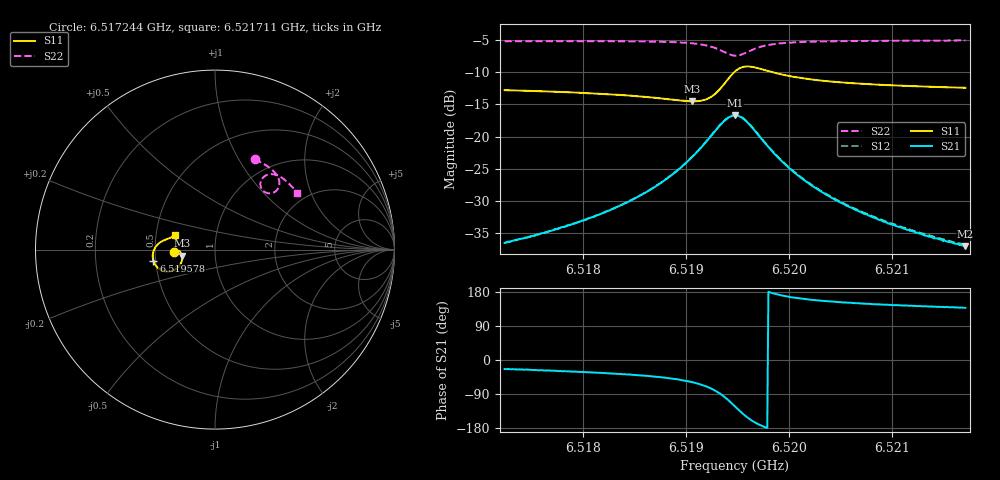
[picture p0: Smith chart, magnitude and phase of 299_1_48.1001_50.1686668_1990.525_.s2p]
#  HZ  S  RI  R  50.00
! Rohde & Schwarz Vector Network Analyzer
! Rohde-Schwarz,ZNB20-2Port,1311601062101988,3.16
! Created: UTC 12/23/2023, 4:04:33 AM
! freq[Hz]  re:S11  im:S11  re:S21  im:S21  re:S12  im:S12  re:S22  im:S22
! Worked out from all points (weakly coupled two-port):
!   401 points, 6.517244 GHz to 6.521711 GHz, reference 50 ohm
!   highest |S21| = -16.71 dB at 6.519477 GHz (marker M1); lowest = -37.0 dB at 6.521711 GHz (marker M2)
!   lowest |S11| = -14.5 dB at 6.519064 GHz (marker M3), VSWR 1.46, Z = 34.3 - j2.36 ohm
!   |S11| at or under -10 dB: start of sweep to 6.519471 GHz; 6.519837 GHz to end of sweep
!   |S22| runs from -7.5 to -5.1 dB; largest |S21 - S12| = 0.0044
!   S11 on the Smith chart (normalised r, x): 6.517244 GHz: 0.63, -0.02; 6.519578 GHz: 0.49, -0.07; 6.521711 GHz: 0.63, +0.11
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6.5172437e9  -0.2288 -0.0118  0.0137 -0.00605  0.0139 -0.0055  0.2206 0.5025
6.5175565e9  -0.225 -0.00745  0.0156 -0.0078  0.0158 -0.00735  0.2434 0.492
6.517992e9  -0.2184 -0.00285  0.019 -0.0116  0.0193 -0.011  0.2755 0.4747
6.5184052e9  -0.2091 -0.00177  0.0241 -0.0184  0.0246 -0.0178  0.3066 0.454
6.5187403e9  -0.1982 -0.00761  0.0304 -0.0302  0.0315 -0.0293  0.3328 0.4302
6.5189078e9  -0.1912 -0.0164  0.034 -0.0414  0.0355 -0.0406  0.3458 0.4131
6.5190641e9  -0.1848 -0.0331  0.0362 -0.0595  0.0384 -0.0588  0.3561 0.3904
6.5191647e9  -0.1837 -0.0521  0.0341 -0.0777  0.0366 -0.0773  0.359 0.3697
6.519254e9  -0.1901 -0.0768  0.0243 -0.1004  0.0275 -0.1004  0.3542 0.3466
6.5193098e9  -0.2024 -0.0955  0.0106 -0.1162  0.0141 -0.1167  0.3442 0.3309
6.519388e9  -0.2373 -0.1183  -0.024 -0.1331  -0.0204 -0.1349  0.3169 0.3145
6.5194774e9  -0.2985 -0.1145  -0.0784 -0.1231  -0.0756 -0.1264  0.2741 0.323
6.519522e9  -0.325 -0.0946  -0.0997 -0.103  -0.0976 -0.1066  0.2593 0.3404
6.5195779e9  -0.3435 -0.0613  -0.1125 -0.0718  -0.1112 -0.0758  0.253 0.3663
6.5196896e9  -0.3408 -0.00367  -0.1038 -0.0229  -0.1038 -0.026  0.2704 0.4043
6.5198012e9  -0.3208 0.0273  -0.0829 0.000338  -0.0839 -0.00199  0.2966 0.4185
6.5200134e9  -0.2895 0.0496  -0.0545 0.0134  -0.0553 0.0119  0.3346 0.4178
6.5202256e9  -0.2706 0.0576  -0.0385 0.0151  -0.0397 0.0141  0.3603 0.4076
6.5205718e9  -0.2528 0.0641  -0.0253 0.0138  -0.0261 0.0134  0.3902 0.3876
6.5209739e9  -0.2403 0.0698  -0.0174 0.0121  -0.0181 0.0118  0.4169 0.3635
6.5213313e9  -0.2323 0.0747  -0.0134 0.0106  -0.014 0.0104  0.4369 0.3416
6.521711e9  -0.2253 0.0797  -0.0104 0.00956  -0.011 0.00937  0.4561 0.3179
